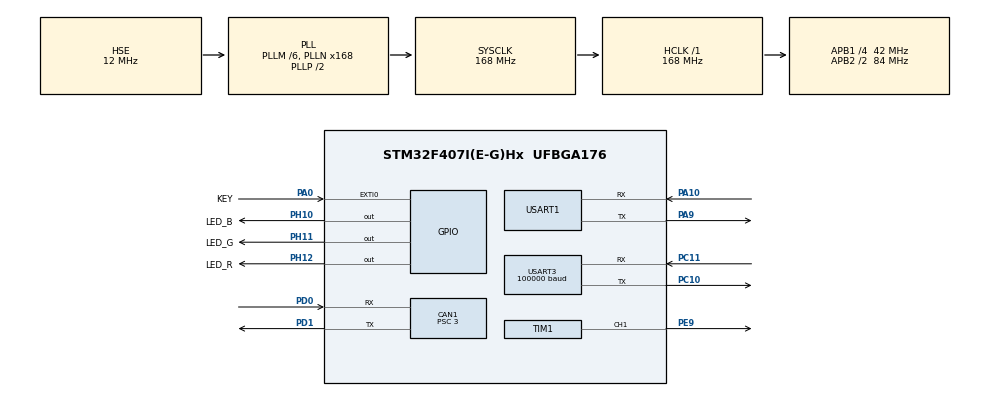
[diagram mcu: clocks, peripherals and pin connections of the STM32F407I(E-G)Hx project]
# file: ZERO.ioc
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CAN1.BS1=CAN_BS1_10TQ
CAN1.BS2=CAN_BS2_3TQ
CAN1.CalculateBaudRate=1000000
CAN1.CalculateTimeBit=1000
CAN1.CalculateTimeQuantum=71.42857142857143
CAN1.Prescaler=3
CAN1.SJW=CAN_SJW_1TQ
Dma.Request0=USART3_RX
Dma.USART3_RX.0.Direction=DMA_PERIPH_TO_MEMORY
Dma.USART3_RX.0.FIFOMode=DMA_FIFOMODE_DISABLE
Dma.USART3_RX.0.Instance=DMA1_Stream1
Dma.USART3_RX.0.MemDataAlignment=DMA_MDATAALIGN_BYTE
Dma.USART3_RX.0.MemInc=DMA_MINC_ENABLE
Dma.USART3_RX.0.Mode=DMA_CIRCULAR
Dma.USART3_RX.0.PeriphDataAlignment=DMA_PDATAALIGN_BYTE
Dma.USART3_RX.0.PeriphInc=DMA_PINC_DISABLE
Dma.USART3_RX.0.Priority=DMA_PRIORITY_VERY_HIGH
FREERTOS.Tasks01=defaultTask,0,128,StartDefaultTask,Default,NULL,Dynamic,NULL,NULL;LED_Blue,0,128,LED_Blue_task,As external,NULL,Dynamic,NULL,NULL;ServoTask,2,128,Servo_Task,As weak,NULL,Dynamic,NULL,NULL;Usart1,0,128,Usart_Task,As external,NULL,Dynamic,NULL,NULL
Mcu.Family=STM32F4
Mcu.Name=STM32F407I(E-G)Hx
Mcu.Package=UFBGA176
NVIC.CAN1_RX0_IRQn=true\:5\:0\:false\:false\:true\:true\:true\:true\:true
NVIC.DMA1_Stream1_IRQn=true\:5\:0\:false\:false\:true\:true\:false\:true\:true
NVIC.EXTI0_IRQn=true\:5\:0\:false\:false\:true\:true\:true\:true\:true
NVIC.PriorityGroup=NVIC_PRIORITYGROUP_4
NVIC.TIM7_IRQn=true\:5\:0\:false\:false\:true\:true\:true\:true\:true
NVIC.USART1_IRQn=true\:5\:0\:false\:false\:true\:true\:true\:true\:true
PA0-WKUP.GPIO_Label=KEY
PA0-WKUP.GPIO_PuPd=GPIO_PULLUP
PA0-WKUP.Signal=GPXTI0
PA10.Mode=Asynchronous
PA10.Signal=USART1_RX
PA13.Mode=Serial_Wire
PA13.Signal=SYS_JTMS-SWDIO
PA14.Mode=Serial_Wire
PA14.Signal=SYS_JTCK-SWCLK
PA9.Mode=Asynchronous
PA9.Signal=USART1_TX
PC10.Mode=Asynchronous
PC10.Signal=USART3_TX
PC11.Mode=Asynchronous
PC11.Signal=USART3_RX
PD0.Mode=CAN_Activate
PD0.Signal=CAN1_RX
PD1.Mode=CAN_Activate
PD1.Signal=CAN1_TX
PE9.Signal=S_TIM1_CH1
PH0-OSC_IN.Mode=HSE-External-Oscillator
PH0-OSC_IN.Signal=RCC_OSC_IN
PH1-OSC_OUT.Mode=HSE-External-Oscillator
PH1-OSC_OUT.Signal=RCC_OSC_OUT
PH10.GPIO_Label=LED_B
PH10.Signal=GPIO_Output
PH11.GPIO_Label=LED_G
PH11.Signal=GPIO_Output
PH12.GPIO_Label=LED_R
PH12.Signal=GPIO_Output
ProjectManager.HeapSize=0x200
ProjectManager.StackSize=0x400
ProjectManager.TargetToolchain=MDK-ARM V5
RCC.48MHZClocksFreq_Value=84000000
RCC.AHBFreq_Value=168000000
RCC.APB1CLKDivider=RCC_HCLK_DIV4
RCC.APB1Freq_Value=42000000
RCC.APB1TimFreq_Value=84000000
RCC.APB2CLKDivider=RCC_HCLK_DIV2
RCC.APB2Freq_Value=84000000
RCC.APB2TimFreq_Value=168000000
RCC.CortexFreq_Value=168000000
RCC.HCLKFreq_Value=168000000
RCC.HSE_VALUE=12000000
RCC.HSI_VALUE=16000000
RCC.LSE_VALUE=32768
RCC.PLLM=6
RCC.PLLN=168
RCC.PLLSourceVirtual=RCC_PLLSOURCE_HSE
RCC.SYSCLKFreq_VALUE=168000000
RCC.SYSCLKSource=RCC_SYSCLKSOURCE_PLLCLK
RCC.VCOOutputFreq_Value=336000000
SH.S_TIM1_CH1.0=TIM1_CH1,PWM Generation1 CH1
TIM1.Channel-PWM\ Generation1\ CH1=TIM_CHANNEL_1
TIM1.Period=999
TIM1.Prescaler=1679
TIM7.AutoReloadPreload=TIM_AUTORELOAD_PRELOAD_ENABLE
TIM7.Period=1000
TIM7.Prescaler=83
USART1.VirtualMode=VM_ASYNC
USART3.BaudRate=100000
USART3.Parity=PARITY_EVEN
USART3.VirtualMode=VM_ASYNC
USART3.WordLength=WORDLENGTH_9B
VP_FREERTOS_VS_CMSIS_V1.Mode=CMSIS_V1
VP_TIM7_VS_ClockSourceINT.Mode=Enable_Timer
board=custom

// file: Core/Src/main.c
/* USER CODE BEGIN Header */
/**
  ******************************************************************************
  * @file           : main.c
  * @brief          : Main program body
  ******************************************************************************
  * @attention
  *
  * Copyright (c) 2023 STMicroelectronics.
  * All rights reserved.
  *
  * This software is licensed under terms that can be found in the LICENSE file
  * in the root directory of this software component.
  * If no LICENSE file comes with this software, it is provided AS-IS.
  *
  ******************************************************************************
  */
/* USER CODE END Header */
#include "main.h"
#include "cmsis_os.h"
#include "can.h"
#include "dma.h"
#include "tim.h"
#include "usart.h"
#include "gpio.h"

/* USER CODE BEGIN PV */
extern CAN_HandleTypeDef hcan1;
//extern CAN_HandleTypeDef hcan2;
/* USER CODE END PV */

void SystemClock_Config(void);
void MX_FREERTOS_Init(void);
/* USER CODE BEGIN PFP */
void can_filter_init(void);
/* USER CODE END PFP */

/* USER CODE BEGIN 0 */

uint32_t time_ms = 0;
int time_second = 0;
uint8_t sbus_buf[18];
/* USER CODE END 0 */

int main(void)
{

  /* MCU Configuration--------------------------------------------------------*/

  /* Reset of all peripherals, Initializes the Flash interface and the Systick. */
  HAL_Init();

  /* Configure the system clock */
  SystemClock_Config();

  /* Initialize all configured peripherals */
  MX_GPIO_Init();
  MX_DMA_Init();
  MX_TIM1_Init();
  MX_CAN1_Init();
  MX_TIM7_Init();
  MX_USART1_UART_Init();
  MX_USART3_UART_Init();
  /* USER CODE BEGIN 2 */
	HAL_TIM_PWM_Start(&htim1,TIM_CHANNEL_1);
	HAL_TIM_Base_Start_IT(&htim7);
	can_filter_init();
	HAL_UART_Receive_DMA(&huart3,sbus_buf,18);

  /* USER CODE END 2 */

  /* Call init function for freertos objects (in freertos.c) */
  MX_FREERTOS_Init();

  /* Start scheduler */
  osKernelStart();

  /* We should never get here as control is now taken by the scheduler */
  /* Infinite loop */
  while (1)
  {

    /* USER CODE BEGIN 3 */
//		HAL_GPIO_WritePin(GPIOH,GPIO_PIN_12,GPIO_PIN_SET);
//		HAL_Delay(1000);
//		HAL_GPIO_WritePin(GPIOH,GPIO_PIN_12,GPIO_PIN_RESET);
//		HAL_Delay(1000);
//		HAL_GPIO_WritePin(GPIOH,GPIO_PIN_12,GPIO_PIN_SET);
//		HAL_Delay(1000);
//		HAL_GPIO_WritePin(GPIOH,GPIO_PIN_12,GPIO_PIN_RESET);
//		HAL_Delay(1000);
//		HAL_GPIO_WritePin(GPIOH,GPIO_PIN_12,GPIO_PIN_SET);
//		HAL_Delay(1000);
//		HAL_GPIO_WritePin(GPIOH,GPIO_PIN_12,GPIO_PIN_RESET);
//		HAL_Delay(1000);
  }
  /* USER CODE END 3 */
}

void SystemClock_Config(void)
{
  RCC_OscInitTypeDef RCC_OscInitStruct = {0};
  RCC_ClkInitTypeDef RCC_ClkInitStruct = {0};

  /** Configure the main internal regulator output voltage
  */
  __HAL_RCC_PWR_CLK_ENABLE();
  __HAL_PWR_VOLTAGESCALING_CONFIG(PWR_REGULATOR_VOLTAGE_SCALE1);

  /** Initializes the RCC Oscillators according to the specified parameters
  * in the RCC_OscInitTypeDef structure.
  */
  RCC_OscInitStruct.OscillatorType = RCC_OSCILLATORTYPE_HSE;
  RCC_OscInitStruct.HSEState = RCC_HSE_ON;
  RCC_OscInitStruct.PLL.PLLState = RCC_PLL_ON;
  RCC_OscInitStruct.PLL.PLLSource = RCC_PLLSOURCE_HSE;
  RCC_OscInitStruct.PLL.PLLM = 6;
  RCC_OscInitStruct.PLL.PLLN = 168;
  RCC_OscInitStruct.PLL.PLLP = RCC_PLLP_DIV2;
  RCC_OscInitStruct.PLL.PLLQ = 4;
  if (HAL_RCC_OscConfig(&RCC_OscInitStruct) != HAL_OK)
  {
    Error_Handler();
  }

  /** Initializes the CPU, AHB and APB buses clocks
  */
  RCC_ClkInitStruct.ClockType = RCC_CLOCKTYPE_HCLK|RCC_CLOCKTYPE_SYSCLK
                              |RCC_CLOCKTYPE_PCLK1|RCC_CLOCKTYPE_PCLK2;
  RCC_ClkInitStruct.SYSCLKSource = RCC_SYSCLKSOURCE_PLLCLK;
  RCC_ClkInitStruct.AHBCLKDivider = RCC_SYSCLK_DIV1;
  RCC_ClkInitStruct.APB1CLKDivider = RCC_HCLK_DIV4;
  RCC_ClkInitStruct.APB2CLKDivider = RCC_HCLK_DIV2;

  if (HAL_RCC_ClockConfig(&RCC_ClkInitStruct, FLASH_LATENCY_5) != HAL_OK)
  {
    Error_Handler();
  }
}

/* USER CODE BEGIN 4 */
void can_filter_init(void)
{

    CAN_FilterTypeDef can_filter_st;
    can_filter_st.FilterActivation = ENABLE;
    can_filter_st.FilterMode = CAN_FILTERMODE_IDMASK;
    can_filter_st.FilterScale = CAN_FILTERSCALE_32BIT;
    can_filter_st.FilterIdHigh = 0x0000;
    can_filter_st.FilterIdLow = 0x0000;
    can_filter_st.FilterMaskIdHigh = 0x0000;
    can_filter_st.FilterMaskIdLow = 0x0000;
    can_filter_st.FilterBank = 0;
    can_filter_st.FilterFIFOAssignment = CAN_RX_FIFO0;
    HAL_CAN_ConfigFilter(&hcan1, &can_filter_st);
    HAL_CAN_Start(&hcan1);
    HAL_CAN_ActivateNotification(&hcan1, CAN_IT_RX_FIFO0_MSG_PENDING);

//    can_filter_st.SlaveStartFilterBank = 14;
//    can_filter_st.FilterBank = 14;
//    HAL_CAN_ConfigFilter(&hcan2, &can_filter_st);
//    HAL_CAN_Start(&hcan2);
//    HAL_CAN_ActivateNotification(&hcan2, CAN_IT_RX_FIFO0_MSG_PENDING);

}

/* USER CODE END 4 */

void Error_Handler(void)
{
  __disable_irq();
  while (1)
  {
  }
}

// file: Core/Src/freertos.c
/* USER CODE BEGIN Header */
/**
  ******************************************************************************
  * File Name          : freertos.c
  * Description        : Code for freertos applications
  ******************************************************************************
  * @attention
  *
  * Copyright (c) 2023 STMicroelectronics.
  * All rights reserved.
  *
  * This software is licensed under terms that can be found in the LICENSE file
  * in the root directory of this software component.
  * If no LICENSE file comes with this software, it is provided AS-IS.
  *
  ******************************************************************************
  */
/* USER CODE END Header */

#include "FreeRTOS.h"
#include "task.h"
#include "main.h"
#include "cmsis_os.h"

/* USER CODE BEGIN Includes */
#include "LEDTask.h"
/* USER CODE END Includes */

/* USER CODE BEGIN Variables */
osThreadId LED_GreenHandle;
osThreadId MotorTaskHandle;
/* USER CODE END Variables */
osThreadId defaultTaskHandle;
osThreadId LED_BlueHandle;
osThreadId ServoTaskHandle;
osThreadId Usart1Handle;

/* USER CODE BEGIN FunctionPrototypes */
void LED_Green_task(void const * argument);
void motor_task(void const * argument);
/* USER CODE END FunctionPrototypes */

void StartDefaultTask(void const * argument);
extern void LED_Blue_task(void const * argument);
void Servo_Task(void const * argument);
extern void Usart_Task(void const * argument);

void MX_FREERTOS_Init(void); /* (MISRA C 2004 rule 8.1) */

/* GetIdleTaskMemory prototype (linked to static allocation support) */
void vApplicationGetIdleTaskMemory( StaticTask_t **ppxIdleTaskTCBBuffer, StackType_t **ppxIdleTaskStackBuffer, uint32_t *pulIdleTaskStackSize );

/* USER CODE BEGIN GET_IDLE_TASK_MEMORY */
static StaticTask_t xIdleTaskTCBBuffer;
static StackType_t xIdleStack[configMINIMAL_STACK_SIZE];

void vApplicationGetIdleTaskMemory( StaticTask_t **ppxIdleTaskTCBBuffer, StackType_t **ppxIdleTaskStackBuffer, uint32_t *pulIdleTaskStackSize )
{
  *ppxIdleTaskTCBBuffer = &xIdleTaskTCBBuffer;
  *ppxIdleTaskStackBuffer = &xIdleStack[0];
  *pulIdleTaskStackSize = configMINIMAL_STACK_SIZE;
  /* place for user code */
}
/* USER CODE END GET_IDLE_TASK_MEMORY */

void MX_FREERTOS_Init(void) {

  /* Create the thread(s) */
  /* definition and creation of defaultTask */
  osThreadDef(defaultTask, StartDefaultTask, osPriorityNormal, 0, 128);
  defaultTaskHandle = osThreadCreate(osThread(defaultTask), NULL);

  /* definition and creation of LED_Blue */
  osThreadDef(LED_Blue, LED_Blue_task, osPriorityNormal, 0, 128);
  LED_BlueHandle = osThreadCreate(osThread(LED_Blue), NULL);

  /* definition and creation of ServoTask */
  osThreadDef(ServoTask, Servo_Task, osPriorityHigh, 0, 128);
  ServoTaskHandle = osThreadCreate(osThread(ServoTask), NULL);

  /* definition and creation of Usart1 */
  osThreadDef(Usart1, Usart_Task, osPriorityNormal, 0, 128);
  Usart1Handle = osThreadCreate(osThread(Usart1), NULL);

  /* USER CODE BEGIN RTOS_THREADS */
  /* add threads, ... */
  osThreadDef(LED_Green, LED_Green_task, osPriorityNormal, 0, 128);
  LED_GreenHandle = osThreadCreate(osThread(LED_Green), NULL);

	osThreadDef(MotorTask, motor_task, osPriorityNormal, 0, 128);
  MotorTaskHandle = osThreadCreate(osThread(MotorTask), NULL);
  /* USER CODE END RTOS_THREADS */

}

void StartDefaultTask(void const * argument)
{
  for(;;)
  {
    osDelay(1);
  }
}

__weak void Servo_Task(void const * argument)
{
  for(;;)
  {
    osDelay(1);
  }
}
